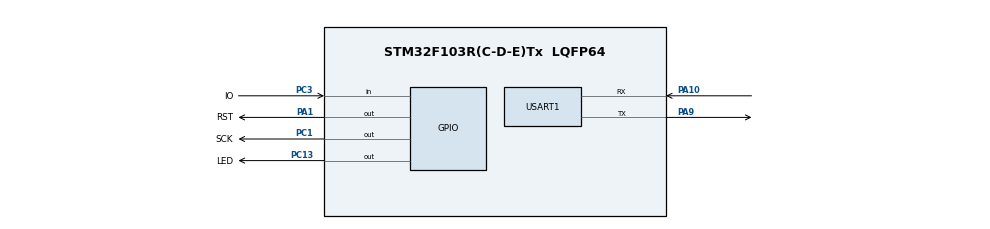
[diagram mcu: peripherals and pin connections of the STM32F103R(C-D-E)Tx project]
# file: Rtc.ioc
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Mcu.Family=STM32F1
Mcu.Name=STM32F103R(C-D-E)Tx
Mcu.Package=LQFP64
NVIC.PriorityGroup=NVIC_PRIORITYGROUP_4
NVIC.RCC_IRQn=true\:0\:0\:false\:true\:true\:2\:true
NVIC.USART1_IRQn=true\:0\:0\:false\:true\:true\:1\:true
PA1.GPIO_Label=RST
PA1.GPIO_Speed=GPIO_SPEED_FREQ_HIGH
PA1.Signal=GPIO_Output
PA10.Mode=Asynchronous
PA10.Signal=USART1_RX
PA13.Mode=Serial_Wire
PA13.Signal=SYS_JTMS-SWDIO
PA14.Mode=Serial_Wire
PA14.Signal=SYS_JTCK-SWCLK
PA9.Mode=Asynchronous
PA9.Signal=USART1_TX
PC1.GPIO_Label=SCK
PC1.GPIO_Speed=GPIO_SPEED_FREQ_HIGH
PC1.Signal=GPIO_Output
PC13-TAMPER-RTC.GPIO_Label=LED
PC13-TAMPER-RTC.GPIO_Speed=GPIO_SPEED_FREQ_MEDIUM
PC13-TAMPER-RTC.Signal=GPIO_Output
PC3.GPIO_Label=IO
PC3.Signal=GPIO_Input
PD0-OSC_IN.Mode=HSE-External-Oscillator
PD0-OSC_IN.Signal=RCC_OSC_IN
PD1-OSC_OUT.Mode=HSE-External-Oscillator
PD1-OSC_OUT.Signal=RCC_OSC_OUT
ProjectManager.HeapSize=0x200
ProjectManager.StackSize=0x400
ProjectManager.TargetToolchain=MDK-ARM V5
RCC.APB1Freq_Value=8000000
RCC.APB2Freq_Value=8000000
USART1.VirtualMode=VM_ASYNC
board=custom

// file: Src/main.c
/* USER CODE BEGIN Header */
/**
  ******************************************************************************
  * @file           : main.c
  * @brief          : Main program body
  ******************************************************************************
  ** This notice applies to any and all portions of this file
  * that are not between comment pairs USER CODE BEGIN and
  * USER CODE END. Other portions of this file, whether
  * inserted by the user or by software development tools
  * are owned by their respective copyright owners.
  *
  * COPYRIGHT(c) 2018 STMicroelectronics
  *
  * Redistribution and use in source and binary forms, with or without modification,
  * are permitted provided that the following conditions are met:
  *   1. Redistributions of source code must retain the above copyright notice,
  *      this list of conditions and the following disclaimer.
  *   2. Redistributions in binary form must reproduce the above copyright notice,
  *      this list of conditions and the following disclaimer in the documentation
  *      and/or other materials provided with the distribution.
  *   3. Neither the name of STMicroelectronics nor the names of its contributors
  *      may be used to endorse or promote products derived from this software
  *      without specific prior written permission.
  *
  * THIS SOFTWARE IS PROVIDED BY THE COPYRIGHT HOLDERS AND CONTRIBUTORS "AS IS"
  * AND ANY EXPRESS OR IMPLIED WARRANTIES, INCLUDING, BUT NOT LIMITED TO, THE
  * IMPLIED WARRANTIES OF MERCHANTABILITY AND FITNESS FOR A PARTICULAR PURPOSE ARE
  * DISCLAIMED. IN NO EVENT SHALL THE COPYRIGHT HOLDER OR CONTRIBUTORS BE LIABLE
  * FOR ANY DIRECT, INDIRECT, INCIDENTAL, SPECIAL, EXEMPLARY, OR CONSEQUENTIAL
  * DAMAGES (INCLUDING, BUT NOT LIMITED TO, PROCUREMENT OF SUBSTITUTE GOODS OR
  * SERVICES; LOSS OF USE, DATA, OR PROFITS; OR BUSINESS INTERRUPTION) HOWEVER
  * CAUSED AND ON ANY THEORY OF LIABILITY, WHETHER IN CONTRACT, STRICT LIABILITY,
  * OR TORT (INCLUDING NEGLIGENCE OR OTHERWISE) ARISING IN ANY WAY OUT OF THE USE
  * OF THIS SOFTWARE, EVEN IF ADVISED OF THE POSSIBILITY OF SUCH DAMAGE.
  *
  ******************************************************************************
  */
/* USER CODE END Header */

#include "main.h"
#include "usart.h"
#include "gpio.h"

/* USER CODE BEGIN Includes */
#include "Rtc.h"
/* USER CODE END Includes */

void SystemClock_Config(void);
static void MX_NVIC_Init(void);

int main(void)
{

  /* MCU Configuration--------------------------------------------------------*/

  /* Reset of all peripherals, Initializes the Flash interface and the Systick. */
  HAL_Init();

  /* Configure the system clock */
  SystemClock_Config();

  /* Initialize all configured peripherals */
  MX_GPIO_Init();
  MX_USART1_UART_Init();

  /* Initialize interrupts */
  MX_NVIC_Init();
  /* USER CODE BEGIN 2 */
	HAL_UART_Receive_IT(&huart1,&Uart1Data,1);
	HAL_Delay(50);
	ds1302_init(); //DS1302初始化
	HAL_Delay(50);
	ds1302_write_time(); //写入初始值

  /* USER CODE END 2 */

  /* Infinite loop */
  /* USER CODE BEGIN WHILE */
  while (1)
  {
		ds1302_read_time();  //读取时间
  readtime[0]=(time_buf[0]>>4);   //分离出年千位
  readtime[1]=(time_buf[0]&0x0F); //分离出年百位
  readtime[2]=(time_buf[1]>>4);   //分离出年十位
  readtime[3]=(time_buf[1]&0x0F); //分离出年个位

  readtime[4]=(time_buf[2]>>4);   //分离出月十位
  readtime[5]=(time_buf[2]&0x0F); //分离出月个位

  readtime[6]=(time_buf[3]>>4);   //分离出日十位
  readtime[7]=(time_buf[3]&0x0F); //分离出日个位

  readtime[8]=(time_buf[4]>>4);   //分离出小时十位
  readtime[9]=(time_buf[4]&0x0F); //分离出小时个位
  readtime[10]=(time_buf[5]>>4);   //分离出分钟十位
  readtime[11]=(time_buf[5]&0x0F); //分离出分钟个位
  readtime[12]=(time_buf[6]>>4);   //分离出秒钟十位
  readtime[13]=(time_buf[6]&0x0F); //分离出秒钟个位
  if(readtime[13]!=sec_buf)
   {
		sec_flag=0;
			sec_buf=readtime[13];

		printf("%c",(readtime[0]+'0'));//年
		printf("%c",(readtime[1]+'0'));
		printf("%c",(readtime[2]+'0'));
		printf("%c",(readtime[3]+'0'));
		printf("-");

		printf("%c",(readtime[4]+'0'));//月
		printf("%c",(readtime[5]+'0'));
		printf("-");

		printf("%c",(readtime[6]+'0'));//日
		printf("%c",(readtime[7]+'0'));
		printf(" ");

		printf("%c",(readtime[8]+'0'));//时
		printf("%c",(readtime[9]+'0'));
		printf(":");

		printf("%c",(readtime[10]+'0'));//分
		printf("%c",(readtime[11]+'0'));
		printf(":");

		printf("%c",(readtime[12]+'0'));//秒
		printf("%c",(readtime[13]+'0'));

		printf("\r\n");

   }
   HAL_Delay(500);

    /* USER CODE END WHILE */

  }
}

void SystemClock_Config(void)
{
  RCC_OscInitTypeDef RCC_OscInitStruct = {0};
  RCC_ClkInitTypeDef RCC_ClkInitStruct = {0};

  /**Initializes the CPU, AHB and APB busses clocks
  */
  RCC_OscInitStruct.OscillatorType = RCC_OSCILLATORTYPE_HSI;
  RCC_OscInitStruct.HSIState = RCC_HSI_ON;
  RCC_OscInitStruct.HSICalibrationValue = RCC_HSICALIBRATION_DEFAULT;
  RCC_OscInitStruct.PLL.PLLState = RCC_PLL_NONE;
  if (HAL_RCC_OscConfig(&RCC_OscInitStruct) != HAL_OK)
  {
    Error_Handler();
  }
  /**Initializes the CPU, AHB and APB busses clocks
  */
  RCC_ClkInitStruct.ClockType = RCC_CLOCKTYPE_HCLK|RCC_CLOCKTYPE_SYSCLK
                              |RCC_CLOCKTYPE_PCLK1|RCC_CLOCKTYPE_PCLK2;
  RCC_ClkInitStruct.SYSCLKSource = RCC_SYSCLKSOURCE_HSI;
  RCC_ClkInitStruct.AHBCLKDivider = RCC_SYSCLK_DIV1;
  RCC_ClkInitStruct.APB1CLKDivider = RCC_HCLK_DIV1;
  RCC_ClkInitStruct.APB2CLKDivider = RCC_HCLK_DIV1;

  if (HAL_RCC_ClockConfig(&RCC_ClkInitStruct, FLASH_LATENCY_0) != HAL_OK)
  {
    Error_Handler();
  }
}

/**
  * @brief NVIC Configuration.
  * @retval None
  */
static void MX_NVIC_Init(void)
{
  /* USART1_IRQn interrupt configuration */
  HAL_NVIC_SetPriority(USART1_IRQn, 0, 0);
  HAL_NVIC_EnableIRQ(USART1_IRQn);
  /* RCC_IRQn interrupt configuration */
  HAL_NVIC_SetPriority(RCC_IRQn, 0, 0);
  HAL_NVIC_EnableIRQ(RCC_IRQn);
}

void Error_Handler(void)
{
}

/************************ (C) COPYRIGHT STMicroelectronics *****END OF FILE****/
